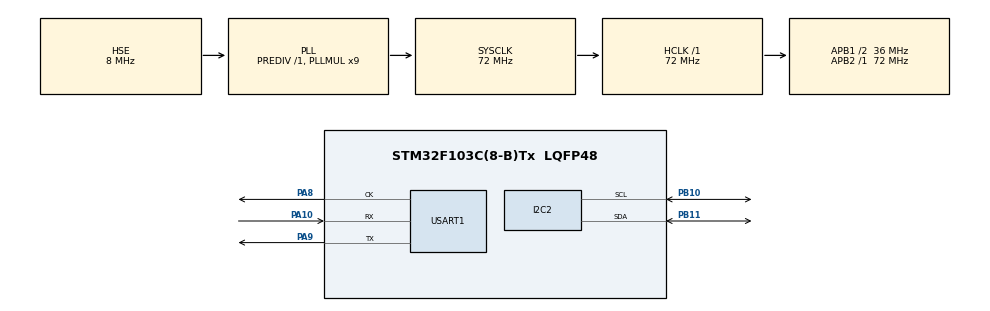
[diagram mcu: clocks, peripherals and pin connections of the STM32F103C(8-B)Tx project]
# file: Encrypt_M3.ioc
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I2C2.I2C_Mode=I2C_Standard
Mcu.Family=STM32F1
Mcu.Name=STM32F103C(8-B)Tx
Mcu.Package=LQFP48
NVIC.PriorityGroup=NVIC_PRIORITYGROUP_4
NVIC.USART1_IRQn=true\:0\:0\:false\:false\:true\:true\:true\:true
PA10.Mode=Synchronous
PA10.Signal=USART1_RX
PA13.Mode=Serial_Wire
PA13.Signal=SYS_JTMS-SWDIO
PA14.Mode=Serial_Wire
PA14.Signal=SYS_JTCK-SWCLK
PA8.Mode=Synchronous
PA8.Signal=USART1_CK
PA9.Mode=Synchronous
PA9.Signal=USART1_TX
PB10.Mode=I2C
PB10.Signal=I2C2_SCL
PB11.Mode=I2C
PB11.Signal=I2C2_SDA
PC14-OSC32_IN.Mode=LSE-External-Oscillator
PC14-OSC32_IN.Signal=RCC_OSC32_IN
PC15-OSC32_OUT.Mode=LSE-External-Oscillator
PC15-OSC32_OUT.Signal=RCC_OSC32_OUT
PD0-OSC_IN.Mode=HSE-External-Oscillator
PD0-OSC_IN.Signal=RCC_OSC_IN
PD1-OSC_OUT.Mode=HSE-External-Oscillator
PD1-OSC_OUT.Signal=RCC_OSC_OUT
ProjectManager.HeapSize=0x200
ProjectManager.StackSize=0x400
ProjectManager.TargetToolchain=STM32CubeIDE
RCC.AHBFreq_Value=72000000
RCC.APB1CLKDivider=RCC_HCLK_DIV2
RCC.APB1Freq_Value=36000000
RCC.APB1TimFreq_Value=72000000
RCC.APB2Freq_Value=72000000
RCC.APB2TimFreq_Value=72000000
RCC.HCLKFreq_Value=72000000
RCC.PLLMUL=RCC_PLL_MUL9
RCC.PLLSourceVirtual=RCC_PLLSOURCE_HSE
RCC.SYSCLKFreq_VALUE=72000000
RCC.SYSCLKSource=RCC_SYSCLKSOURCE_PLLCLK
RCC.USBFreq_Value=72000000
USART1.VirtualMode=VM_SYNC
board=custom

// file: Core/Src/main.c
/* USER CODE BEGIN Header */
/**
  ******************************************************************************
  * @file           : main.c
  * @brief          : Main program body
  ******************************************************************************
  * @attention
  *
  * Copyright (c) 2023 STMicroelectronics.
  * All rights reserved.
  *
  * This software is licensed under terms that can be found in the LICENSE file
  * in the root directory of this software component.
  * If no LICENSE file comes with this software, it is provided AS-IS.
  *
  ******************************************************************************
  */
/* USER CODE END Header */
#include "main.h"

I2C_HandleTypeDef hi2c2;

USART_HandleTypeDef husart1;

void SystemClock_Config(void);
static void MX_GPIO_Init(void);
static void MX_USART1_Init(void);
static void MX_I2C2_Init(void);

int main(void)
{

  /* MCU Configuration--------------------------------------------------------*/

  /* Reset of all peripherals, Initializes the Flash interface and the Systick. */

	HAL_Init();

  /* Configure the system clock */
  SystemClock_Config();

  /* Initialize all configured peripherals */
  MX_GPIO_Init();
  MX_USART1_Init();
  MX_I2C2_Init();
  /* USER CODE BEGIN 2 */

  // read configuration zone: {COMMAND, COUNT, OPCODE, ZONE, ADDRESS_1, ADDRESS_2, CRC_LSB, CRC_MSB}
  uint8_t readCommand0[8] = {0x03, 0x07, 0x02, 0x80, 0x00, 0x00, 0x09, 0xAD};
  uint8_t readCommand1[8] = {0x03, 0x07, 0x02, 0x80, 0x08, 0x00, 0x0a, 0x4d};
  uint8_t readCommand2[8] = {0x03, 0x07, 0x02, 0x00, 0x10, 0x00, 0x1d, 0x9d};
  uint8_t readCommand3[8] = {0x03, 0x07, 0x02, 0x00, 0x11, 0x00, 0x14, 0x1d};
  uint8_t readCommand4[8] = {0x03, 0x07, 0x02, 0x00, 0x12, 0x00, 0x1b, 0x1d};
  uint8_t readCommand5[8] = {0x03, 0x07, 0x02, 0x00, 0x13, 0x00, 0x12, 0x9d};
  uint8_t readCommand6[8] = {0x03, 0x07, 0x02, 0x00, 0x14, 0x00, 0x1e, 0xdd};
  uint8_t readCommand7[8] = {0x03, 0x07, 0x02, 0x00, 0x15, 0x00, 0x17, 0x5d};

  uint8_t LOBBYKEY_2[8] =	{0x03, 0x07, 0x02,  0x82, 0x20, 0x00, 0x09, 0xb0};
  uint8_t SECRET_KEY[8] =	{0x03, 0x07, 0x02,  0x82, 0x08, 0x00, 0x09, 0xc8};
  // NONCE
  uint8_t NumIn[20] = { 0x00, 0x01, 0x02, 0x03, 0x04, 0x05, 0x06, 0x07, 0x08, 0x09,
		  	  	  	  	0x00, 0x01, 0x02, 0x03, 0x04, 0x05, 0x06, 0x07, 0x08, 0x09};
						// 0x00, 0x01, 0x02, 0x03, 0x04, 0x05, 0x06, 0x07, 0x08, 0x09,
						//  0x00, 0x01};
  uint8_t slot0[32] =	{0x00, 0x01, 0x02, 0x03, 0x04, 0x05, 0x06, 0x07, 0x08, 0x09, 0x0A, 0x00, 0x01, 0x02, 0x03, 0x04,
		  	  	  	  	 0x05, 0x06, 0x07, 0x08, 0x09, 0x0A, 0x00, 0x01, 0x02, 0x03, 0x04, 0x05, 0x06, 0x07, 0x08, 0x09};

  uint8_t slot2[32] =	{0x20, 0x21, 0x22, 0x23, 0x24, 0x25, 0x26, 0x27, 0x28, 0x29, 0x2A, 0x20, 0x21, 0x22, 0x23, 0x24,
		  	  	  	  	 0x25, 0x26, 0x27, 0x28, 0x29, 0x2A, 0x20, 0x21, 0x22, 0x23, 0x24, 0x25, 0x26, 0x27, 0x28, 0x29};

  uint8_t slot4[32] =	{0x40, 0x41, 0x42, 0x43, 0x44, 0x45, 0x46, 0x47, 0x48, 0x49, 0x4A, 0x40, 0x41, 0x42, 0x43, 0x44,
		  	  	  	  	 0x45, 0x46, 0x47, 0x48, 0x49, 0x4A, 0x40, 0x41, 0x42, 0x43, 0x44, 0x45, 0x46, 0x47, 0x48, 0x49};

  uint8_t slot5[32] =	{0x50, 0x51, 0x52, 0x53, 0x54, 0x55, 0x56, 0x57, 0x58, 0x59, 0x5A, 0x50, 0x51, 0x52, 0x53, 0x54,
		  	  	  	  	 0x55, 0x56, 0x57, 0x58, 0x59, 0x5A, 0x50, 0x51, 0x52, 0x53, 0x54, 0x55, 0x56, 0x57, 0x58, 0x59};

  uint8_t slotf[32] = 	{0xF0, 0xF1, 0xF2, 0xF3, 0xF4, 0xF5, 0xF6, 0xF7, 0xF8, 0xF9, 0xFA, 0xF0, 0xF1, 0xF2, 0xF3, 0xF4,
		  	  	  	  	 0xF5, 0xF6, 0xF7, 0xF8, 0xF9, 0xFA, 0xF0, 0xF1, 0xF2, 0xF3, 0xF4, 0xF5, 0xF6, 0xF7, 0xF8, 0xF9};

  uint8_t aux[35] = {0};
  uint8_t randout[35] = {0};
  uint8_t tempkey[32] = {0};

  uint8_t DATA_rec[35];

  uint8_t receiv_sha256[35];

  // SHA-256
  uint8_t sha_init[1] = {0};
  uint8_t SHA_receiv[35] = {0};

  // GENDIG
  uint8_t gendig_receiv[4] = {0};

  //MAC
  uint8_t MAC_receiv[35] = {0};
  uint8_t gendig_calc[32] = {0};
  uint8_t MAC_calc[32] = {0};
  uint8_t CheckMAC_receiv[4] = {0};
  uint8_t dado[32] = {0};

  uint8_t read_byte[4];
  uint8_t receiv_ack[4] = {0};

  //uint8_t read_config[32] = {0};
  uint8_t read_config0[35] = {0};
  uint8_t read_config1[35] = {0};
  uint8_t read_config2[7] = {0};
  uint8_t read_config3[7] = {0};
  uint8_t read_config4[7] = {0};
  uint8_t read_config5[7] = {0};
  uint8_t read_config6[7] = {0};
  uint8_t read_config7[7] = {0};
  uint8_t read_config8[7] = {0};

  uint8_t data[32] = {0x00};
  uint8_t hashString[32];

  /* USER CODE END 2 */

  /* Infinite loop */
  /* USER CODE BEGIN WHILE */
  while (1)
  {
	  WakeUp(read_byte);
	  //WriteConfigZone();
	  //BlockConfigZone(receiv_ack);
	  //WriteDataZone(0x00, slot0);
	  //WriteOTPZone();
	  //BlockDataZone();

	  ReadConfig(readCommand0, 35, read_config0);
	  ReadConfig(readCommand1, 35, read_config1);
	  ReadConfig(readCommand2, 7, read_config2);
	  ReadConfig(readCommand3, 7, read_config3);
	  ReadConfig(readCommand4, 7, read_config4);
	  ReadConfig(readCommand5, 7, read_config5);
	  ReadConfig(readCommand6, 7, read_config6);
	  ReadConfig(readCommand7, 7, read_config7);

	  CommandNonce(NumIn, 35, randout);
	  GendigCommand(0x02, 0x00, 4, gendig_receiv);
	  //SHACommandInit(1, sha_init);
	  //SHACommandCompute(35, SHA_receiv);

	  NonceSHA256Hash(randout, NumIn, tempkey);
	  GenDigSHA256Hash(slot2, 0x02, tempkey, gendig_calc);
	  MACSHA256Hash(slot4, 0x04, gendig_calc, MAC_calc);
	  CheckMacCommand(0x04, 0x00, MAC_calc, 4, CheckMAC_receiv); //coloca o conteudo de tempkey = slot5

	  MacCommand(0x02, 0x00, 35, MAC_receiv);

	  // CommandNonce(NumIn, 35, randout);
	 //GendigCommand(0x02, 0x00, 4, gendig_receiv);
	  //ReadEncript(SECRET_KEY, 35, DATA_rec);

	  HAL_Delay(10);

    /* USER CODE END WHILE */

  }
}

void SystemClock_Config(void)
{
  RCC_OscInitTypeDef RCC_OscInitStruct = {0};
  RCC_ClkInitTypeDef RCC_ClkInitStruct = {0};

  /** Initializes the RCC Oscillators according to the specified parameters
  * in the RCC_OscInitTypeDef structure.
  */
  RCC_OscInitStruct.OscillatorType = RCC_OSCILLATORTYPE_HSE;
  RCC_OscInitStruct.HSEState = RCC_HSE_ON;
  RCC_OscInitStruct.HSEPredivValue = RCC_HSE_PREDIV_DIV1;
  RCC_OscInitStruct.HSIState = RCC_HSI_ON;
  RCC_OscInitStruct.PLL.PLLState = RCC_PLL_ON;
  RCC_OscInitStruct.PLL.PLLSource = RCC_PLLSOURCE_HSE;
  RCC_OscInitStruct.PLL.PLLMUL = RCC_PLL_MUL9;
  if (HAL_RCC_OscConfig(&RCC_OscInitStruct) != HAL_OK)
  {
    Error_Handler();
  }

  /** Initializes the CPU, AHB and APB buses clocks
  */
  RCC_ClkInitStruct.ClockType = RCC_CLOCKTYPE_HCLK|RCC_CLOCKTYPE_SYSCLK
                              |RCC_CLOCKTYPE_PCLK1|RCC_CLOCKTYPE_PCLK2;
  RCC_ClkInitStruct.SYSCLKSource = RCC_SYSCLKSOURCE_PLLCLK;
  RCC_ClkInitStruct.AHBCLKDivider = RCC_SYSCLK_DIV1;
  RCC_ClkInitStruct.APB1CLKDivider = RCC_HCLK_DIV2;
  RCC_ClkInitStruct.APB2CLKDivider = RCC_HCLK_DIV1;

  if (HAL_RCC_ClockConfig(&RCC_ClkInitStruct, FLASH_LATENCY_2) != HAL_OK)
  {
    Error_Handler();
  }
}

static void MX_I2C2_Init(void)
{

  hi2c2.Instance = I2C2;
  hi2c2.Init.ClockSpeed = 100000;
  hi2c2.Init.DutyCycle = I2C_DUTYCYCLE_2;
  hi2c2.Init.OwnAddress1 = 0;
  hi2c2.Init.AddressingMode = I2C_ADDRESSINGMODE_7BIT;
  hi2c2.Init.DualAddressMode = I2C_DUALADDRESS_DISABLE;
  hi2c2.Init.OwnAddress2 = 0;
  hi2c2.Init.GeneralCallMode = I2C_GENERALCALL_DISABLE;
  hi2c2.Init.NoStretchMode = I2C_NOSTRETCH_DISABLE;
  if (HAL_I2C_Init(&hi2c2) != HAL_OK)
  {
    Error_Handler();
  }

}

static void MX_USART1_Init(void)
{

  husart1.Instance = USART1;
  husart1.Init.BaudRate = 115200;
  husart1.Init.WordLength = USART_WORDLENGTH_8B;
  husart1.Init.StopBits = USART_STOPBITS_1;
  husart1.Init.Parity = USART_PARITY_NONE;
  husart1.Init.Mode = USART_MODE_TX_RX;
  husart1.Init.CLKPolarity = USART_POLARITY_LOW;
  husart1.Init.CLKPhase = USART_PHASE_1EDGE;
  husart1.Init.CLKLastBit = USART_LASTBIT_DISABLE;
  if (HAL_USART_Init(&husart1) != HAL_OK)
  {
    Error_Handler();
  }

}

static void MX_GPIO_Init(void)
{

  /* GPIO Ports Clock Enable */
  __HAL_RCC_GPIOC_CLK_ENABLE();
  __HAL_RCC_GPIOD_CLK_ENABLE();
  __HAL_RCC_GPIOB_CLK_ENABLE();
  __HAL_RCC_GPIOA_CLK_ENABLE();

}

void Error_Handler(void)
{
  __disable_irq();
  while (1)
  {
  }
}
